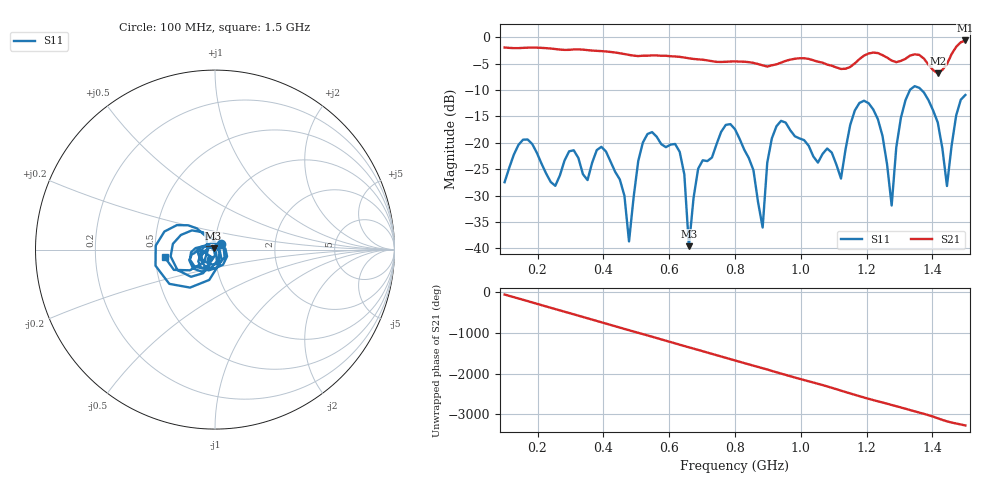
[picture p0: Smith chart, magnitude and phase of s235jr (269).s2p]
! NanoVNA-App
! Date: 2025-09-25 15:06:15
! Start: 100MHz Stop: 1,5GHz Points: 101
! S-Parameter data: F S11 S21 S12 S22
# Hz S RI R 50
!  Frequency  S11_Real  S11_Imag  S21_Real  S21_Imag  S12_Real  S12_Imag  S22_Real  S22_Imag
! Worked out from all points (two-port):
!   101 points, 100 MHz to 1.5 GHz, reference 50 ohm
!   highest |S21| = -0.63 dB at 1.5 GHz (marker M1); lowest = -6.8 dB at 1.416 GHz (marker M2)
!   |S21| within 3 dB of the highest: start of sweep to 608.1 MHz; 1.189 GHz to 1.255 GHz (65.32 MHz wide, 5.35 % of centre) (the widest 2 of 4)
!   lowest |S11| = -39.6 dB at 660 MHz (marker M3), VSWR 1.02, Z = 49.2 + j0.634 ohm
!   |S11| at or under -10 dB: start of sweep to 1.332 GHz; 1.366 GHz to end of sweep
!   S12 and S22 are empty: the file has one direction only
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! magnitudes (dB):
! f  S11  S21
! 100 MHz  -27.5  -2.0
! 156 MHz  -19.4  -2.0
! 338 MHz  -26.0  -2.4
! 408 MHz  -21.7  -2.7
! 478 MHz  -38.7  -3.4
! 520 MHz  -20.0  -3.5
! 576 MHz  -20.3  -3.5
! 632 MHz  -21.7  -3.7
! 660 MHz  -39.6  -4.0
! 688 MHz  -24.9  -4.2
! 800 MHz  -17.4  -4.6
! 884 MHz  -36.0  -5.4
! 898 MHz  -23.8  -5.6
! 926 MHz  -16.9  -5.2
! 1.038 GHz  -22.6  -4.4
! 1.122 GHz  -26.8  -6.0
! 1.206 GHz  -12.5  -3.1
! 1.276 GHz  -31.9  -4.4
! 1.332 GHz  -9.9  -3.5
! 1.416 GHz  -16.2  -6.8
! 1.444 GHz  -28.2  -5.1
! 1.5 GHz  -10.9  -0.6
